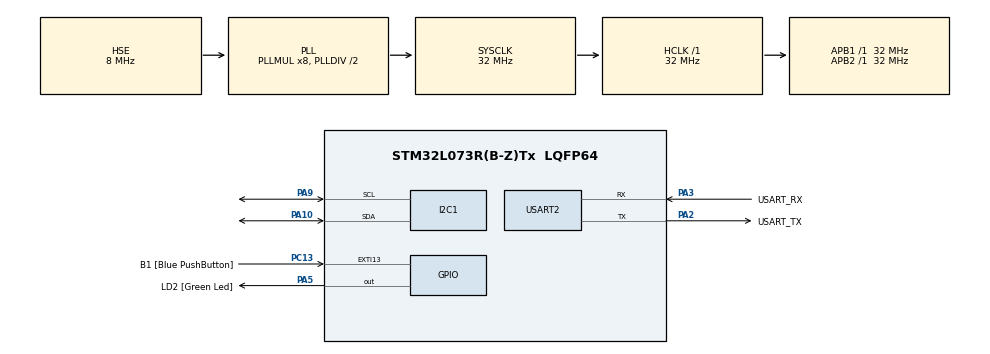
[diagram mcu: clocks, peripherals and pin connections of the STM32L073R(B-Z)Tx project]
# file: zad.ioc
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I2C1.Timing=0x00707CBB
Mcu.Family=STM32L0
Mcu.Name=STM32L073R(B-Z)Tx
Mcu.Package=LQFP64
PA10.Mode=I2C
PA10.Signal=I2C1_SDA
PA13.GPIO_Label=TMS
PA13.Mode=Serial_Wire
PA13.Signal=SYS_SWDIO
PA14.GPIO_Label=TCK
PA14.Mode=Serial_Wire
PA14.Signal=SYS_SWCLK
PA2.GPIO_Label=USART_TX
PA2.Mode=Asynchronous
PA2.Signal=USART2_TX
PA3.GPIO_Label=USART_RX
PA3.Mode=Asynchronous
PA3.Signal=USART2_RX
PA5.GPIO_Label=LD2 [Green Led]
PA5.Signal=GPIO_Output
PA9.Mode=I2C
PA9.Signal=I2C1_SCL
PC13.GPIO_Label=B1 [Blue PushButton]
PC13.GPIO_ModeDefaultEXTI=GPIO_MODE_IT_FALLING
PC13.Signal=GPXTI13
PC14-OSC32_IN.Mode=LSE-External-Oscillator
PC14-OSC32_IN.Signal=RCC_OSC32_IN
PC15-OSC32_OUT.Mode=LSE-External-Oscillator
PC15-OSC32_OUT.Signal=RCC_OSC32_OUT
PH0-OSC_IN.GPIO_Label=MCO
PH0-OSC_IN.Mode=HSE-External-Clock-Source
PH0-OSC_IN.Signal=RCC_OSC_IN
ProjectManager.HeapSize=0x200
ProjectManager.StackSize=0x400
ProjectManager.TargetToolchain=STM32CubeIDE
RCC.AHBFreq_Value=32000000
RCC.APB1Freq_Value=32000000
RCC.APB1TimFreq_Value=32000000
RCC.APB2Freq_Value=32000000
RCC.APB2TimFreq_Value=32000000
RCC.HCLKFreq_Value=32000000
RCC.HSE_VALUE=8000000
RCC.HSI16_VALUE=16000000
RCC.HSI48_VALUE=48000000
RCC.HSI_VALUE=16000000
RCC.MSI_VALUE=2097000
RCC.PLLMUL=RCC_PLLMUL_8
RCC.PLLSourceVirtual=RCC_PLLSOURCE_HSE
RCC.SYSCLKFreq_VALUE=32000000
RCC.SYSCLKSource=RCC_SYSCLKSOURCE_PLLCLK
RCC.VCOOutputFreq_Value=64000000
TIM3.Prescaler=32000 - 1
USART2.VirtualMode-Asynchronous=VM_ASYNC
VP_TIM3_VS_ClockSourceINT.Mode=Internal
board=NUCLEO-L073RZ

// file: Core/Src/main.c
/* USER CODE BEGIN Header */
/**
  ******************************************************************************
  * @file           : main.c
  * @brief          : Main program body
  ******************************************************************************
  * @attention
  *
  * Copyright (c) 2023 STMicroelectronics.
  * All rights reserved.
  *
  * This software is licensed under terms that can be found in the LICENSE file
  * in the root directory of this software component.
  * If no LICENSE file comes with this software, it is provided AS-IS.
  *
  ******************************************************************************
  */
/* USER CODE END Header */
#include "main.h"

/* USER CODE BEGIN PD */
// PCA9633PW I2C address
#define PCA9633PW_ADDRESS 0x60

// Register addresses
#define MODE1_REG 0x00
#define MODE2_REG 0x01
#define LED0_ON_L_REG 0x02
#define LED0_ON_H_REG 0x03
#define LED0_OFF_L_REG 0x04
#define LED0_OFF_H_REG 0x05
#define ALL_LED_ON_L_REG 0xFA
#define ALL_LED_ON_H_REG 0xFB
#define ALL_LED_OFF_L_REG 0xFC
#define ALL_LED_OFF_H_REG 0xFD

// RGBW LED channel indices
#define RED_CHANNEL 0
#define GREEN_CHANNEL 1
#define BLUE_CHANNEL 2
#define WHITE_CHANNEL 3
/* USER CODE END PD */

I2C_HandleTypeDef hi2c1;

TIM_HandleTypeDef htim3;

UART_HandleTypeDef huart2;

/* USER CODE BEGIN PV */
const uint8_t rainbow_colors[3][4] = {
  {255, 0, 0, 255},   // Red
  {255, 255, 0, 255}, // Yellow
  {0, 0, 255, 255},   // Blue
};
/* USER CODE END PV */

void SystemClock_Config(void);
static void MX_GPIO_Init(void);
static void MX_USART2_UART_Init(void);
static void MX_I2C1_Init(void);
static void MX_TIM3_Init(void);
/* USER CODE BEGIN PFP */
void PCA9633PW_Init(void);
void PCA9633PW_SetRGBW(uint8_t red, uint8_t green, uint8_t blue, uint8_t white);
void delayms(uint32_t ms);
/* USER CODE END PFP */

int main(void)
{
  /* USER CODE BEGIN 1 */
	 uint8_t color_index = 0;
  /* USER CODE END 1 */

  /* MCU Configuration--------------------------------------------------------*/

  /* Reset of all peripherals, Initializes the Flash interface and the Systick. */
  HAL_Init();

  /* Configure the system clock */
  SystemClock_Config();

  /* Initialize all configured peripherals */
  MX_GPIO_Init();
  MX_USART2_UART_Init();
  MX_I2C1_Init();
  MX_TIM3_Init();
  /* USER CODE BEGIN 2 */
  PCA9633PW_Init();
  /* USER CODE END 2 */

  /* Infinite loop */
  while (1)
  {

    /* USER CODE BEGIN 3 */
	    // Set RGBW LED to the current rainbow color
	    PCA9633PW_SetRGBW(
	      rainbow_colors[color_index][RED_CHANNEL],
	      rainbow_colors[color_index][GREEN_CHANNEL],
	      rainbow_colors[color_index][BLUE_CHANNEL],
	      rainbow_colors[color_index][WHITE_CHANNEL]
	    );

	    color_index++;
	    if (color_index >= 3) {
	      color_index = 0;
	    }

	    delayms(500); //half second delay
  }
  /* USER CODE END 3 */
}

void SystemClock_Config(void)
{
  RCC_OscInitTypeDef RCC_OscInitStruct = {0};
  RCC_ClkInitTypeDef RCC_ClkInitStruct = {0};
  RCC_PeriphCLKInitTypeDef PeriphClkInit = {0};

  /** Configure the main internal regulator output voltage
  */
  __HAL_PWR_VOLTAGESCALING_CONFIG(PWR_REGULATOR_VOLTAGE_SCALE1);

  /** Initializes the RCC Oscillators according to the specified parameters
  * in the RCC_OscInitTypeDef structure.
  */
  RCC_OscInitStruct.OscillatorType = RCC_OSCILLATORTYPE_HSE;
  RCC_OscInitStruct.HSEState = RCC_HSE_BYPASS;
  RCC_OscInitStruct.PLL.PLLState = RCC_PLL_ON;
  RCC_OscInitStruct.PLL.PLLSource = RCC_PLLSOURCE_HSE;
  RCC_OscInitStruct.PLL.PLLMUL = RCC_PLLMUL_8;
  RCC_OscInitStruct.PLL.PLLDIV = RCC_PLLDIV_2;
  if (HAL_RCC_OscConfig(&RCC_OscInitStruct) != HAL_OK)
  {
    Error_Handler();
  }

  /** Initializes the CPU, AHB and APB buses clocks
  */
  RCC_ClkInitStruct.ClockType = RCC_CLOCKTYPE_HCLK|RCC_CLOCKTYPE_SYSCLK
                              |RCC_CLOCKTYPE_PCLK1|RCC_CLOCKTYPE_PCLK2;
  RCC_ClkInitStruct.SYSCLKSource = RCC_SYSCLKSOURCE_PLLCLK;
  RCC_ClkInitStruct.AHBCLKDivider = RCC_SYSCLK_DIV1;
  RCC_ClkInitStruct.APB1CLKDivider = RCC_HCLK_DIV1;
  RCC_ClkInitStruct.APB2CLKDivider = RCC_HCLK_DIV1;

  if (HAL_RCC_ClockConfig(&RCC_ClkInitStruct, FLASH_LATENCY_1) != HAL_OK)
  {
    Error_Handler();
  }
  PeriphClkInit.PeriphClockSelection = RCC_PERIPHCLK_USART2|RCC_PERIPHCLK_I2C1;
  PeriphClkInit.Usart2ClockSelection = RCC_USART2CLKSOURCE_PCLK1;
  PeriphClkInit.I2c1ClockSelection = RCC_I2C1CLKSOURCE_PCLK1;
  if (HAL_RCCEx_PeriphCLKConfig(&PeriphClkInit) != HAL_OK)
  {
    Error_Handler();
  }
}

static void MX_I2C1_Init(void)
{

  hi2c1.Instance = I2C1;
  hi2c1.Init.Timing = 0x00707CBB;
  hi2c1.Init.OwnAddress1 = 0;
  hi2c1.Init.AddressingMode = I2C_ADDRESSINGMODE_7BIT;
  hi2c1.Init.DualAddressMode = I2C_DUALADDRESS_DISABLE;
  hi2c1.Init.OwnAddress2 = 0;
  hi2c1.Init.OwnAddress2Masks = I2C_OA2_NOMASK;
  hi2c1.Init.GeneralCallMode = I2C_GENERALCALL_DISABLE;
  hi2c1.Init.NoStretchMode = I2C_NOSTRETCH_DISABLE;
  if (HAL_I2C_Init(&hi2c1) != HAL_OK)
  {
    Error_Handler();
  }

  /** Configure Analogue filter
  */
  if (HAL_I2CEx_ConfigAnalogFilter(&hi2c1, I2C_ANALOGFILTER_ENABLE) != HAL_OK)
  {
    Error_Handler();
  }

  /** Configure Digital filter
  */
  if (HAL_I2CEx_ConfigDigitalFilter(&hi2c1, 0) != HAL_OK)
  {
    Error_Handler();
  }

}

static void MX_TIM3_Init(void)
{

  TIM_ClockConfigTypeDef sClockSourceConfig = {0};
  TIM_MasterConfigTypeDef sMasterConfig = {0};

  htim3.Instance = TIM3;
  htim3.Init.Prescaler = 32000 - 1;
  htim3.Init.CounterMode = TIM_COUNTERMODE_UP;
  htim3.Init.Period = 65535;
  htim3.Init.ClockDivision = TIM_CLOCKDIVISION_DIV1;
  htim3.Init.AutoReloadPreload = TIM_AUTORELOAD_PRELOAD_DISABLE;
  if (HAL_TIM_Base_Init(&htim3) != HAL_OK)
  {
    Error_Handler();
  }
  sClockSourceConfig.ClockSource = TIM_CLOCKSOURCE_INTERNAL;
  if (HAL_TIM_ConfigClockSource(&htim3, &sClockSourceConfig) != HAL_OK)
  {
    Error_Handler();
  }
  sMasterConfig.MasterOutputTrigger = TIM_TRGO_RESET;
  sMasterConfig.MasterSlaveMode = TIM_MASTERSLAVEMODE_DISABLE;
  if (HAL_TIMEx_MasterConfigSynchronization(&htim3, &sMasterConfig) != HAL_OK)
  {
    Error_Handler();
  }

}

static void MX_USART2_UART_Init(void)
{

  huart2.Instance = USART2;
  huart2.Init.BaudRate = 115200;
  huart2.Init.WordLength = UART_WORDLENGTH_8B;
  huart2.Init.StopBits = UART_STOPBITS_1;
  huart2.Init.Parity = UART_PARITY_NONE;
  huart2.Init.Mode = UART_MODE_TX_RX;
  huart2.Init.HwFlowCtl = UART_HWCONTROL_NONE;
  huart2.Init.OverSampling = UART_OVERSAMPLING_16;
  huart2.Init.OneBitSampling = UART_ONE_BIT_SAMPLE_DISABLE;
  huart2.AdvancedInit.AdvFeatureInit = UART_ADVFEATURE_NO_INIT;
  if (HAL_UART_Init(&huart2) != HAL_OK)
  {
    Error_Handler();
  }

}

static void MX_GPIO_Init(void)
{
  GPIO_InitTypeDef GPIO_InitStruct = {0};

  /* GPIO Ports Clock Enable */
  __HAL_RCC_GPIOC_CLK_ENABLE();
  __HAL_RCC_GPIOH_CLK_ENABLE();
  __HAL_RCC_GPIOA_CLK_ENABLE();

  /*Configure GPIO pin Output Level */
  HAL_GPIO_WritePin(LD2_GPIO_Port, LD2_Pin, GPIO_PIN_RESET);

  /*Configure GPIO pin : B1_Pin */
  GPIO_InitStruct.Pin = B1_Pin;
  GPIO_InitStruct.Mode = GPIO_MODE_IT_FALLING;
  GPIO_InitStruct.Pull = GPIO_NOPULL;
  HAL_GPIO_Init(B1_GPIO_Port, &GPIO_InitStruct);

  /*Configure GPIO pin : LD2_Pin */
  GPIO_InitStruct.Pin = LD2_Pin;
  GPIO_InitStruct.Mode = GPIO_MODE_OUTPUT_PP;
  GPIO_InitStruct.Pull = GPIO_NOPULL;
  GPIO_InitStruct.Speed = GPIO_SPEED_FREQ_LOW;
  HAL_GPIO_Init(LD2_GPIO_Port, &GPIO_InitStruct);

}

/* USER CODE BEGIN 4 */
void PCA9633PW_Init(void) {
  // Set PCA9633PW Mode1 register for normal operation
  uint8_t mode1_data = 0x00;
  HAL_I2C_Mem_Write(&hi2c1, PCA9633PW_ADDRESS, MODE1_REG, I2C_MEMADD_SIZE_8BIT, &mode1_data, 1, HAL_MAX_DELAY);

  // Set PCA9633PW Mode2 register for normal operation
  uint8_t mode2_data = 0x00;
  HAL_I2C_Mem_Write(&hi2c1, PCA9633PW_ADDRESS, MODE2_REG, I2C_MEMADD_SIZE_8BIT, &mode2_data, 1, HAL_MAX_DELAY);
}

void PCA9633PW_SetRGBW(uint8_t red, uint8_t green, uint8_t blue, uint8_t white) {
  // Set individual LED output values for RGBW channels
  uint8_t led_values[4] = {red, green, blue, white};
  HAL_I2C_Mem_Write(&hi2c1, PCA9633PW_ADDRESS, LED0_ON_L_REG, I2C_MEMADD_SIZE_8BIT, led_values, 4, HAL_MAX_DELAY);
  HAL_I2C_Mem_Write(&hi2c1, PCA9633PW_ADDRESS, LED0_OFF_L_REG, I2C_MEMADD_SIZE_8BIT, led_values, 4, HAL_MAX_DELAY);
}

void delayms(uint32_t ms) {
    // Start the timer
    HAL_TIM_Base_Start(&htim3);
    __HAL_TIM_SET_COUNTER(&htim3,0);
    // Wait until the required number of timer ticks has passed
    while (htim3.Instance->CNT < ms);
    // Stop the timer
    HAL_TIM_Base_Stop(&htim3);
}
/* USER CODE END 4 */

void Error_Handler(void)
{
  __disable_irq();
  while (1)
  {
  }
}
